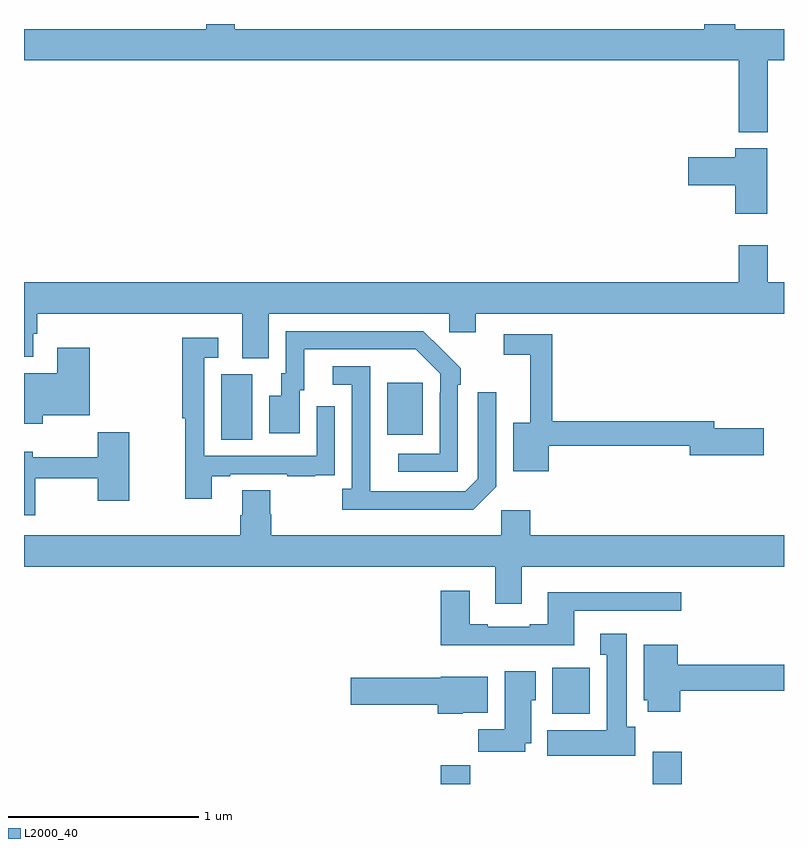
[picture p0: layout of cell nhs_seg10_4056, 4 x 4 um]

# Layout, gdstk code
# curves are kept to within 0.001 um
import gdstk
lib = gdstk.Library(unit=1e-6, precision=1e-09)
def R(c, l, rs):  # rectangles x0, y0, x1, y1
    for r in rs: c.add(gdstk.rectangle(r[:2], r[2:], *l))
def P(c, l, *ps):  # polygons
    for p in ps: c.add(gdstk.Polygon(p, *l))
L2000_40 = (2000, 40)

nhs_seg10_4056 = lib.new_cell('nhs_seg10_4056')
R(nhs_seg10_4056, L2000_40, [(337.193,1304.5,337.349,1304.6), (338.309,1304.5,338.462,1304.671), (337.781,1304.87,337.978,1305.112), (336.038,1306.312,336.202,1306.656), (336.911,1306.337,337.099,1306.612)])
P(nhs_seg10_4056, L2000_40, [(338.914,1308.308),(339,1308.308),(339,1308.472),(338.744,1308.472),(338.744,1308.5),(338.579,1308.5),(338.579,1308.472),(336.11,1308.472),(336.11,1308.5),(335.958,1308.5),(335.958,1308.472),(335,1308.472),(335,1308.308),(338.762,1308.308),(338.762,1307.93),(338.914,1307.93)],
  [(338.911,1307.845),(338.744,1307.845),(338.744,1307.798),(338.496,1307.798),(338.496,1307.651),(338.744,1307.651),(338.744,1307.502),(338.911,1307.502)],
  [(336.289,1306.976),(337.239,1306.976),(337.239,1306.878),(337.378,1306.878),(337.378,1306.976),(339,1306.976),(339,1307.14),(338.914,1307.14),(338.914,1307.335),(338.762,1307.335),(338.762,1307.14),(335,1307.14),(335,1306.748),(335.049,1306.748),(335.049,1306.869),(335.069,1306.869),(335.069,1306.976),(336.149,1306.976),(336.149,1306.741),(336.289,1306.741)],
  [(337.284,1306.601),(337.299,1306.601),(337.299,1306.689),(337.102,1306.884),(336.378,1306.884),(336.378,1306.662),(336.353,1306.662),(336.353,1306.543),(336.29,1306.543),(336.29,1306.347),(336.451,1306.347),(336.451,1306.572),(336.475,1306.572),(336.475,1306.788),(337.063,1306.788),(337.191,1306.659),(337.191,1306.559),(337.188,1306.559),(337.188,1306.239),(336.969,1306.239),(336.969,1306.143),(337.284,1306.143)],
  [(337.762,1306.281),(338.504,1306.281),(338.504,1306.231),(338.893,1306.231),(338.893,1306.373),(338.632,1306.373),(338.632,1306.409),(337.781,1306.409),(337.781,1306.866),(337.524,1306.866),(337.524,1306.758),(337.664,1306.758),(337.664,1306.402),(337.574,1306.402),(337.574,1306.145),(337.762,1306.145)],
  [(335.989,1306.119),(336.085,1306.119),(336.085,1306.131),(336.385,1306.131),(336.385,1306.119),(336.533,1306.119),(336.533,1306.125),(336.635,1306.125),(336.635,1306.234),(336.636,1306.234),(336.636,1306.489),(336.54,1306.489),(336.54,1306.227),(335.949,1306.227),(335.949,1306.743),(336.022,1306.743),(336.022,1306.849),(335.833,1306.849),(335.833,1306.425),(335.848,1306.425),(335.848,1306.002),(335.989,1306.002)],
  [(335.098,1306.442),(335.345,1306.442),(335.345,1306.795),(335.174,1306.795),(335.174,1306.663),(335,1306.663),(335,1306.397),(335.098,1306.397)],
  [(337.485,1306.065),(337.485,1306.561),(337.389,1306.561),(337.389,1306.107),(337.323,1306.041),(336.823,1306.041),(336.822,1306.698),(336.624,1306.698),(336.624,1306.602),(336.726,1306.602),(336.726,1306.054),(336.675,1306.054),(336.675,1305.944),(337.364,1305.944)],
  [(335.059,1306.11),(335.389,1306.11),(335.389,1305.99),(335.554,1305.99),(335.554,1306.351),(335.389,1306.351),(335.389,1306.221),(335.047,1306.221),(335.047,1306.249),(335,1306.249),(335,1305.915),(335.059,1305.915)],
  [(337.512,1305.808),(336.302,1305.808),(336.302,1305.921),(336.297,1305.921),(336.297,1306.046),(336.149,1306.046),(336.149,1305.914),(336.137,1305.914),(336.137,1305.808),(335,1305.808),(335,1305.644),(337.481,1305.644),(337.481,1305.45),(337.621,1305.45),(337.621,1305.644),(339,1305.644),(339,1305.808),(337.664,1305.808),(337.664,1305.94),(337.512,1305.94)],
  [(337.897,1305.411),(338.458,1305.411),(338.458,1305.508),(337.757,1305.508),(337.757,1305.34),(337.661,1305.34),(337.661,1305.327),(337.441,1305.327),(337.441,1305.34),(337.345,1305.34),(337.345,1305.517),(337.193,1305.517),(337.193,1305.23),(337.897,1305.23)],
  [(338.218,1304.802),(338.173,1304.802),(338.173,1305.292),(338.033,1305.292),(338.033,1305.179),(338.066,1305.179),(338.066,1304.782),(337.754,1304.782),(337.754,1304.648),(338.218,1304.648)],
  [(338.453,1304.992),(339,1304.992),(339,1305.128),(338.44,1305.128),(338.44,1305.232),(338.261,1305.232),(338.261,1304.94),(338.282,1304.94),(338.282,1304.88),(338.453,1304.88)],
  [(337.639,1304.714),(337.669,1304.714),(337.669,1304.94),(337.693,1304.94),(337.693,1305.094),(337.529,1305.094),(337.529,1304.788),(337.39,1304.788),(337.39,1304.67),(337.639,1304.67)],
  [(337.308,1304.876),(337.441,1304.876),(337.441,1305.064),(337.194,1305.064),(337.194,1305.059),(336.72,1305.059),(336.72,1304.917),(337.178,1304.917),(337.178,1304.87),(337.308,1304.87)])

lib.write_gds('nhs_seg10_4056.gds')
